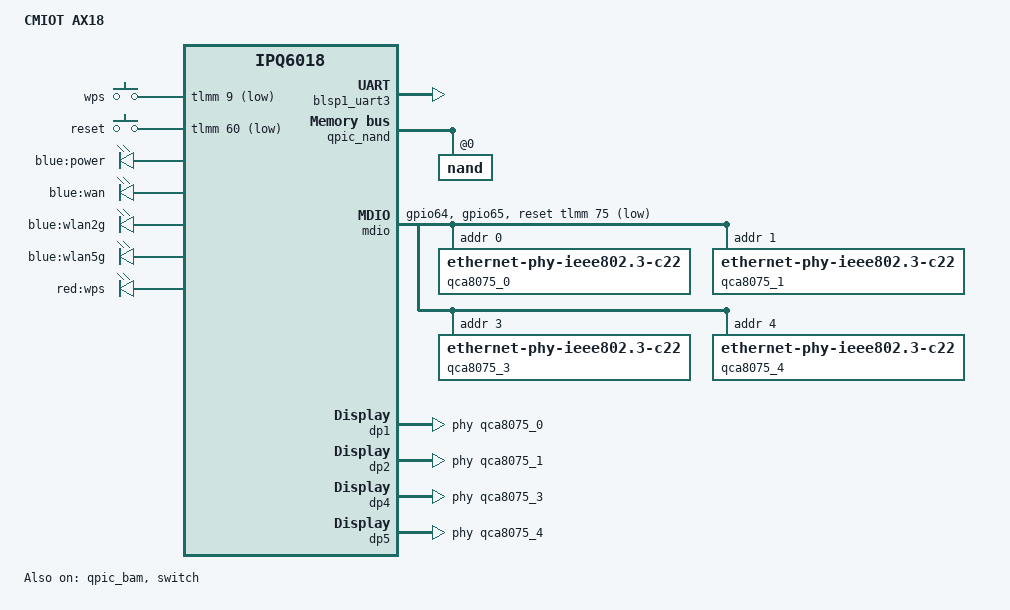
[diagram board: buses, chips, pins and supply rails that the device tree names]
// SPDX-License-Identifier: GPL-2.0-or-later OR MIT

/dts-v1/;

#include "ipq6018-256m.dtsi"
#include "ipq6018-ess.dtsi"
#include "ipq6018-nss.dtsi"

#include <dt-bindings/gpio/gpio.h>
#include <dt-bindings/input/input.h>

/ {
	model = "CMIOT AX18";
	compatible = "cmiot,ax18", "qcom,ipq6018";

	aliases {
		serial0 = &blsp1_uart3;
		led-boot = &led_power;
		led-failsafe = &led_power;
		led-running = &led_power;
		led-upgrade = &led_power;
		label-mac-device = &dp1;

		ethernet0 = &dp1;
		ethernet1 = &dp2;
		ethernet3 = &dp4;
		ethernet4 = &dp5;
	};

	chosen {
		stdout-path = "serial0:115200n8";
		bootargs-append = " root=/dev/ubiblock0_1";
	};

	keys {
		compatible = "gpio-keys";

		wps {
			label = "wps";
			linux,code = <KEY_WPS_BUTTON>;
			gpios = <&tlmm 9 GPIO_ACTIVE_LOW>;
		};

		reset {
			label = "reset";
			linux,code = <KEY_RESTART>;
			gpios = <&tlmm 60 GPIO_ACTIVE_LOW>;
		};
	};

	leds {
		compatible = "gpio-leds";

		led_power: power {
			label = "blue:power";
			gpio = <&tlmm 73 GPIO_ACTIVE_HIGH>;
		};

		wan {
			label = "blue:wan";
			gpio = <&tlmm 74 GPIO_ACTIVE_HIGH>;
		};

		wlan2g {
			label = "blue:wlan2g";
			gpio = <&tlmm 37 GPIO_ACTIVE_HIGH>;
		};

		wlan5g {
			label = "blue:wlan5g";
			gpio = <&tlmm 35 GPIO_ACTIVE_HIGH>;
		};

		wps {
			label = "red:wps";
			gpio = <&tlmm 69 GPIO_ACTIVE_HIGH>;
		};
	};
};

&tlmm {
	mdio_pins: mdio-pins {
		mdc {
			pins = "gpio64";
			function = "mdc";
			drive-strength = <8>;
			bias-pull-up;
		};

		mdio {
			pins = "gpio65";
			function = "mdio";
			drive-strength = <8>;
			bias-pull-up;
		};
	};
};

&blsp1_uart3 {
	pinctrl-0 = <&serial_3_pins>;
	pinctrl-names = "default";
	status = "okay";
};

&qpic_bam {
	status = "okay";
};

&qpic_nand {
	status = "okay";

	nand@0 {
		reg = <0>;
		nand-ecc-strength = <4>;
		nand-ecc-step-size = <512>;
		nand-bus-width = <8>;

		partitions {
			compatible = "qcom,smem-part";
		};
	};
};

&rpm {
	status = "disabled";
};

&mdio {
	status = "okay";

	pinctrl-0 = <&mdio_pins>;
	pinctrl-names = "default";
	reset-gpios = <&tlmm 75 GPIO_ACTIVE_LOW>;

	qca8075_0: ethernet-phy@0 {
		compatible = "ethernet-phy-ieee802.3-c22";
		reg = <0>;
	};

	qca8075_1: ethernet-phy@1 {
		compatible = "ethernet-phy-ieee802.3-c22";
		reg = <1>;
	};

	qca8075_3: ethernet-phy@3 {
		compatible = "ethernet-phy-ieee802.3-c22";
		reg = <3>;
	};

	qca8075_4: ethernet-phy@4 {
		compatible = "ethernet-phy-ieee802.3-c22";
		reg = <4>;
	};
};

&switch {
	status = "okay";

	switch_cpu_bmp = <0x1>;  /* cpu port bitmap */
	switch_lan_bmp = <0x16>; /* lan port bitmap */
	switch_wan_bmp = <0x20>; /* wan port bitmap */
	switch_inner_bmp = <0xc0>; /*inner port bitmap*/
	switch_mac_mode = <0x0>; /* mac mode for uniphy instance0*/
	switch_mac_mode1 = <0xff>; /* mac mode for uniphy instance1*/
	switch_mac_mode2 = <0xff>; /* mac mode for uniphy instance2*/

	qcom,port_phyinfo {
		port@0 {
			port_id = <1>;
			phy_address = <0>;
		};
		port@1 {
			port_id = <2>;
			phy_address = <1>;
		};
		port@2 {
			port_id = <4>;
			phy_address = <3>;
		};
		port@3 {
			port_id = <5>;
			phy_address = <4>;
		};
	};
};

&edma {
	status = "okay";
};

&dp1 {
	status = "okay";
	phy-handle = <&qca8075_0>;
	label = "lan3";
};

&dp2 {
	status = "okay";
	phy-handle = <&qca8075_1>;
	label = "lan2";
};

&dp4 {
	status = "okay";
	phy-handle = <&qca8075_3>;
	label = "lan1";
};

&dp5 {
	status = "okay";
	phy-handle = <&qca8075_4>;
	label = "wan";
};

&wifi {
	status = "disabled";
	qcom,ath11k-fw-memory-mode = <2>;
};
